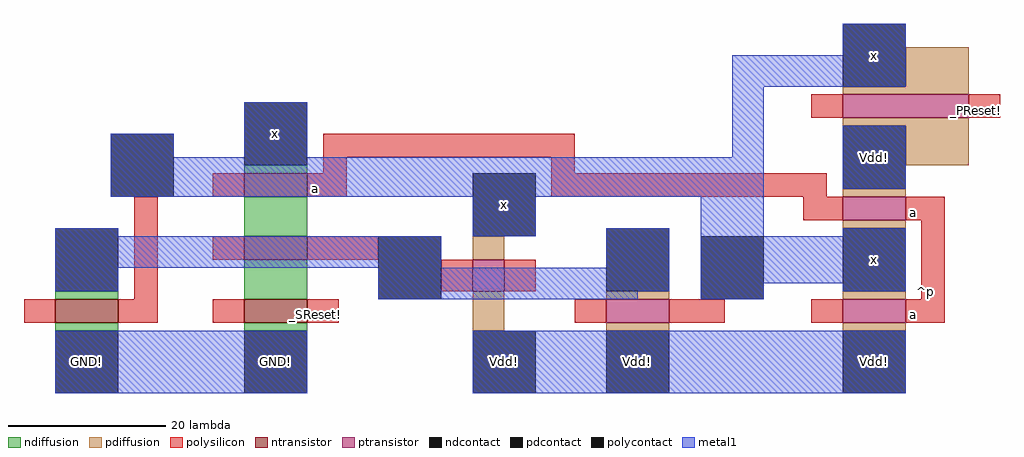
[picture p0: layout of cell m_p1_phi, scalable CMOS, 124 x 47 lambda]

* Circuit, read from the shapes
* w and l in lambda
.subckt m_p1_phi GND! Vdd! _PReset! _SReset! a x
M1 n1 x GND! VSUBS nfet w=8 l=3
M2 n2 _SReset! GND! VSUBS nfet w=8 l=3
M3 n3 n1 n2 VSUBS nfet w=8 l=3
M4 x a n3 VSUBS nfet w=8 l=3
M5 x n1 Vdd! NWELL pfet w=4 l=4
M6 n1 x Vdd! NWELL pfet w=8 l=3
M7 x a Vdd! NWELL pfet w=8 l=3 m=2
M8 x _PReset! Vdd! NWELL pfet w=16 l=3
.ends

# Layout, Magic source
magic
tech scmos
<< ndiffusion >>
rect -83 52 -75 53
rect -107 36 -99 37
rect -83 44 -75 49
rect -83 36 -75 41
rect -107 32 -99 33
rect -83 32 -75 33
<< pdiffusion >>
rect 1 63 9 68
rect -7 62 9 63
rect -7 58 9 59
rect 1 53 9 58
rect -7 49 1 50
rect -7 45 1 46
rect -54 41 -50 44
rect -54 32 -50 37
rect -37 36 -29 37
rect -7 36 1 37
rect -37 32 -29 33
rect -7 32 1 33
<< ntransistor >>
rect -83 49 -75 52
rect -83 41 -75 44
rect -107 33 -99 36
rect -83 33 -75 36
<< ptransistor >>
rect -7 59 9 62
rect -7 46 1 49
rect -54 37 -50 41
rect -37 33 -29 36
rect -7 33 1 36
<< polysilicon >>
rect -11 59 -7 62
rect 9 59 13 62
rect -73 54 -41 57
rect -73 52 -70 54
rect -44 52 -41 54
rect -87 49 -83 52
rect -75 49 -70 52
rect -97 36 -94 49
rect -44 49 -9 52
rect -12 46 -7 49
rect 1 46 6 49
rect -87 41 -83 44
rect -75 41 -66 44
rect -58 37 -54 41
rect -50 37 -46 41
rect -111 33 -107 36
rect -99 33 -94 36
rect -87 33 -83 36
rect -75 33 -71 36
rect 3 36 6 46
rect -41 33 -37 36
rect -29 33 -22 36
rect -11 33 -7 36
rect 1 33 6 36
<< ndcontact >>
rect -83 53 -75 61
rect -107 37 -99 45
rect -107 24 -99 32
rect -83 24 -75 32
<< pdcontact >>
rect -7 63 1 71
rect -54 44 -46 52
rect -7 50 1 58
rect -37 37 -29 45
rect -7 37 1 45
rect -54 24 -46 32
rect -37 24 -29 32
rect -7 24 1 32
<< polycontact >>
rect -100 49 -92 57
rect -66 36 -58 44
rect -25 36 -17 44
<< metal1 >>
rect -7 67 1 71
rect -21 63 1 67
rect -100 54 -92 57
rect -83 54 -75 61
rect -21 54 -17 63
rect -100 49 -17 54
rect -7 50 1 58
rect -107 44 -99 45
rect -54 44 -46 49
rect -107 40 -58 44
rect -37 40 -29 45
rect -107 37 -99 40
rect -66 37 -29 40
rect -25 44 -17 49
rect -7 44 1 45
rect -25 38 1 44
rect -66 36 -33 37
rect -25 36 -17 38
rect -7 37 1 38
rect -107 24 -75 32
rect -54 24 1 32
<< labels >>
rlabel pdcontact -33 28 -33 28 1 Vdd!
rlabel metal1 -50 28 -50 28 1 Vdd!
rlabel ndcontact -103 28 -103 28 1 GND!
rlabel metal1 -79 28 -79 28 1 GND!
rlabel polysilicon -74 50 -74 50 1 a
rlabel polysilicon -74 34 -74 34 1 _SReset!
rlabel polysilicon 2 47 2 47 1 a
rlabel polysilicon 2 34 2 34 1 a
rlabel metal1 -3 54 -3 54 5 Vdd!
rlabel metal1 -3 28 -3 28 1 Vdd!
rlabel polysilicon 10 60 10 60 7 _PReset!
rlabel space 0 23 7 51 3 ^p
rlabel metal1 -3 41 -3 41 1 x
rlabel metal1 -3 67 -3 67 5 x
rlabel metal1 -50 48 -50 48 1 x
rlabel metal1 -79 57 -79 57 1 x
<< end >>
